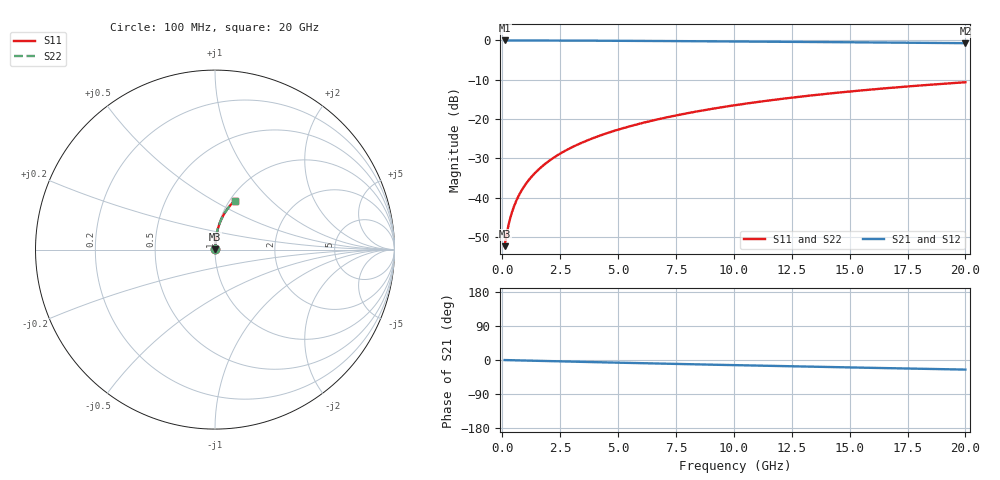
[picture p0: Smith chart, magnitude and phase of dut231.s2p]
! Touchstone file exported from HFSS 2024.1.0
!  File:  C:/UserFiles/LocalFiles/RDL_TSV_Batchsim/temp_RDL_top_231_1778688145.aedt
!  Generated:  12:06:55 AM May 14, 2026
!  Design:  RDL_top
!  Project:  temp_RDL_top_231_1778688145
!  Setup:  Setup1
!  Solution:  Sweep
! Variables:
!  dtsv = 10.80580581um
!  hbump = 3um
!  htsv = 59.9um
!  ldown = 100um
!  lrdl = 309.63um
!  p = 40
!  p1 = 50.34um
!  rhole = 1um
!  t = 450um
!  tdown = 3.915915916um
!  trdl = 3.83um
!  wdown = 15.38538539um
!  wrdl = 16.63um
# GHz S MA R 50.000000
! Terminal data exported
! Port[1] = Box2_T1
! Port[2] = Box2_T2
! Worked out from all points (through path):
!   200 points, 100 MHz to 20 GHz, reference 50 ohm
!   highest |S21| = -0.02 dB at 100 MHz (marker M1); lowest = -0.7 dB at 20 GHz (marker M2)
!   group delay of S21, straight-line fit = 3.5 ps
!   lowest |S11| = -52.3 dB at 100 MHz (marker M3), VSWR 1.00, Z = 50.2 + j0.153 ohm
!   |S11| at or under -10 dB: start of sweep to end of sweep
!   |S22| runs from -52.3 to -10.6 dB; largest |S21 - S12| = 2.7e-15
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0.1  0.00242 39.1  0.9981 -0.1  0.9981 -0.1  0.00242 39.1
! Gamma 0 0 0 0
! Port Impedance 50 0 50 0
0.2  0.003592 57.4  0.9981 -0.3  0.9981 -0.3  0.003592 57.4
0.3  0.004923 66.0  0.998 -0.4  0.998 -0.4  0.004923 66.0
0.4  0.006296 70.9  0.9979 -0.6  0.9979 -0.6  0.006296 70.9
0.5  0.007684 74.0  0.9978 -0.7  0.9978 -0.7  0.007684 74.0
0.6  0.00908 76.2  0.9977 -0.9  0.9977 -0.9  0.00908 76.2
0.8  0.01189 79.0  0.9976 -1.2  0.9976 -1.2  0.01189 79.0
1.1  0.01615 81.5  0.9973 -1.6  0.9973 -1.6  0.01615 81.5
1.5  0.02187 83.2  0.9968 -2.2  0.9968 -2.2  0.02187 83.2
1.8  0.02619 83.9  0.9964 -2.6  0.9964 -2.6  0.02619 83.9
2.1  0.03053 84.4  0.9959 -3.0  0.9959 -3.0  0.03053 84.4
2.7  0.03925 84.9  0.9948 -3.9  0.9948 -3.9  0.03925 84.9
3.5  0.05098 85.0  0.9929 -5.0  0.9929 -5.0  0.05098 85.0
4.2  0.06134 84.8  0.991 -6.0  0.991 -6.0  0.06134 84.8
5  0.07328 84.5  0.9885 -7.1  0.9885 -7.1  0.07328 84.5
5.9  0.08682 83.9  0.9854 -8.3  0.9854 -8.3  0.08682 83.9
6.8  0.1005 83.2  0.9821 -9.4  0.9821 -9.4  0.1005 83.2
8.3  0.1233 81.8  0.9762 -11.4  0.9762 -11.4  0.1233 81.8
10.1  0.1508 79.8  0.9687 -13.7  0.9687 -13.7  0.1508 79.8
13.4  0.2004 76.0  0.9541 -17.7  0.9541 -17.7  0.2004 76.0
16.7  0.2483 72.1  0.9386 -21.6  0.9386 -21.6  0.2483 72.1
20  0.2937 68.2  0.9221 -25.3  0.9221 -25.3  0.2937 68.2
